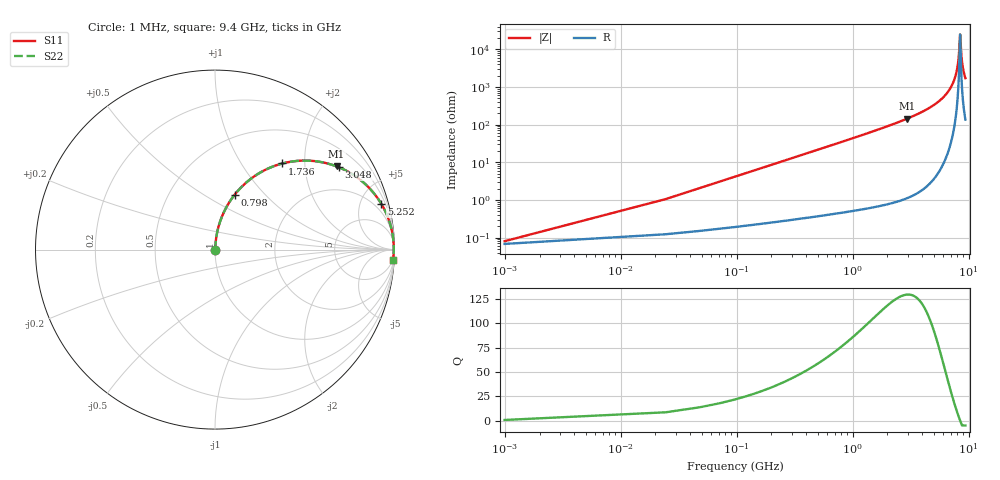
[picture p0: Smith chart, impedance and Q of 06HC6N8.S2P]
! Coilcraft 0603HC-6N8 Chip Inductor
! 03 June 2002
# MHZ S MA R 50
!Freq  MagS11  AngS11  MagS21  AngS21  MagS12  AngS12  MagS22  AngS22
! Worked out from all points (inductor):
!   402 points, 1 MHz to 9.4 GHz, reference 50 ohm
!   read as one part in series: L = 6.8 nH near 47.88 MHz
!   highest Q = 129 at 2.978 GHz (marker M1), where L = 7.76 nH
!   self-resonance near 8.463 GHz
!   S11 on the Smith chart (normalised r, x): 1 MHz: 1.00, +0.00; 798 MHz: 1.01, +0.69; 1.736 GHz: 1.01, +1.55; 3.048 GHz: 1.02, +2.99; 5.252 GHz: 1.09, +7.30; 9.4 GHz: 4, -34
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1  0.0008017 32.2  0.9993 -0.0  0.9993 -0.0  0.0008017 32.2
71.32  0.03046 85.0  0.9978 -1.7  0.9978 -1.7  0.03046 85.0
118.2  0.05039 84.8  0.9967 -2.9  0.9967 -2.9  0.05039 84.8
165.08  0.07026 84.1  0.9952 -4.0  0.9952 -4.0  0.07026 84.1
399.48  0.1681 79.2  0.9825 -9.7  0.9825 -9.7  0.1681 79.2
797.96  0.324 70.3  0.9418 -18.9  0.9418 -18.9  0.324 70.3
1571.48  0.5685 54.8  0.8174 -34.6  0.8174 -34.6  0.5685 54.8
1735.56  0.6095 51.9  0.7874 -37.6  0.7874 -37.6  0.6095 51.9
2977.88  0.8206 34.4  0.5651 -55.1  0.5651 -55.1  0.8206 34.4
3048.2  0.8285 33.6  0.5536 -55.9  0.5536 -55.9  0.8285 33.6
3141.96  0.8385 32.6  0.5385 -57.0  0.5385 -57.0  0.8385 32.6
4712.44  0.9432 18.9  0.3232 -70.6  0.3232 -70.6  0.9432 18.9
5251.56  0.9615 15.3  0.2636 -74.0  0.2636 -74.0  0.9615 15.3
6282.92  0.9832 9.5  0.1645 -79.4  0.1645 -79.4  0.9832 9.5
7220.52  0.9927 5.0  0.08767 -82.7  0.08767 -82.7  0.9927 5.0
7853.4  0.9954 2.4  0.04144 -82.5  0.04144 -82.5  0.9954 2.4
8205  0.996 1.0  0.01757 -76.2  0.01757 -76.2  0.996 1.0
8462.84  0.996 0.0  0.004021 -1.3  0.004021 -1.3  0.996 0.0
8673.8  0.9958 -0.8  0.01409 72.2  0.01409 72.2  0.9958 -0.8
8814.44  0.9955 -1.3  0.02272 78.0  0.02272 78.0  0.9955 -1.3
9072.28  0.9949 -2.2  0.03844 81.3  0.03844 81.3  0.9949 -2.2
9400  0.9938 -3.3  0.05791 82.2  0.05791 82.2  0.9938 -3.3
